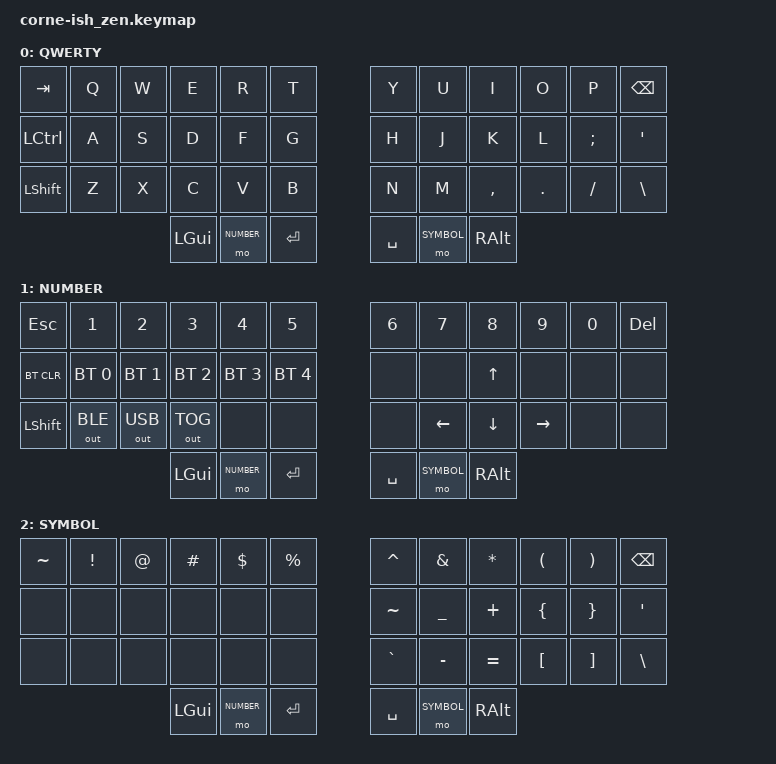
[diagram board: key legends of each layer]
/*
*
* Copyright (c) 2021 lowprokb.ca
* SPDX-License-Identifier: MIT
*
*/

#include <behaviors.dtsi>
#include <dt-bindings/zmk/keys.h>
#include <dt-bindings/zmk/bt.h>
#include <dt-bindings/zmk/outputs.h>

#define QWERTY 0
#define NUMBER 1
#define SYMBOL 2
#define CONFIG 3

/ {
    combos {
        compatible = "zmk,combos";
        combo_ {
            timeout-ms = <50>;
            key-positions = <0 1>;
            bindings = <&kp ESC>;
        };
    };
};

/ {
        keymap {
                compatible = "zmk,keymap";

                default_layer {
                        label = "QWERTY";
                        bindings = <
   &kp TAB   &kp Q &kp W &kp E &kp R &kp T    &kp Y &kp U &kp I    &kp O   &kp P    &kp BKSP
   &kp LCTRL &kp A &kp S &kp D &kp F &kp G    &kp H &kp J &kp K    &kp L   &kp SEMI &kp QUOT
   &kp LSHFT &kp Z &kp X &kp C &kp V &kp B    &kp N &kp M &kp CMMA &kp DOT &kp FSLH &kp BSLH
              &kp LGUI &mo NUMBER &kp ENTER    &kp SPC &mo SYMBOL &kp RALT
                        >;
                };

                number_layer {
                        label = "NUMBER";
                        bindings = <
   &kp ESC    &kp N1       &kp N2       &kp N3       &kp N4       &kp N5           &kp N6 &kp N7   &kp N8    &kp N9    &kp N0    &kp DEL
   &bt BT_CLR &bt BT_SEL 0 &bt BT_SEL 1 &bt BT_SEL 2 &bt BT_SEL 3 &bt BT_SEL 4     &none  &none    &kp UP    &none     &none     &none
   &kp LSHFT  &out OUT_BLE &out OUT_USB &out OUT_TOG &none        &none            &none  &kp LEFT &kp DOWN  &kp RIGHT &none     &none
               &kp LGUI &mo NUMBER &kp ENTER                                       &kp SPC &mo SYMBOL &kp RALT
                        >;
                };

                symbol_layer {
                        label = "SYMBOL";
                        bindings = < 
   &kp TILDE &kp EXCL &kp AT &kp HASH &kp DLLR &kp PRCNT   &kp CARET &kp AMPS  &kp STAR  &kp LPAR &kp RPAR &kp BSPC
   &none &none &none &none &none &none                     &kp TILDE &kp UNDER &kp PLUS  &kp LBRC &kp RBRC &kp QUOT
   &none &none &none &none &none &none                     &kp GRAVE &kp MINUS &kp EQUAL &kp LBKT &kp RBKT &kp BSLH
              &kp LGUI &mo NUMBER &kp ENTER              &kp SPC   &mo SYMBOL &kp RALT
                        >;
                };
        };
};
